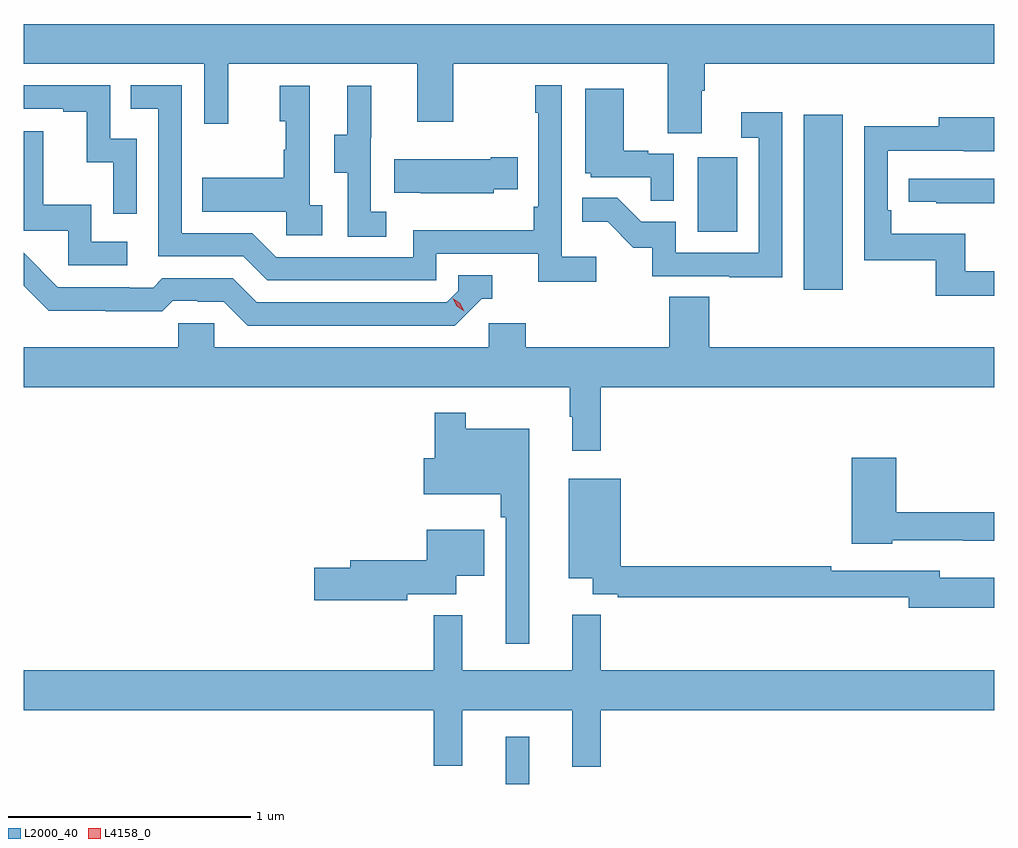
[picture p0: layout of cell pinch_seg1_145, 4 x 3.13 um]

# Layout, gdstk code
import gdstk
lib = gdstk.Library(unit=1e-6, precision=1e-09)
def R(c, l, rs):  # rectangles x0, y0, x1, y1
    for r in rs: c.add(gdstk.rectangle(r[:2], r[2:], *l))
def P(c, l, *ps):  # polygons
    for p in ps: c.add(gdstk.Polygon(p, *l))
L2000_40 = (2000, 40)
L4158_0 = (4158, 0)

pinch_seg1_145 = lib.new_cell('pinch_seg1_145')
R(pinch_seg1_145, L2000_40, [(1108.293,550.096,1108.39,550.291), (1109.522,552.132,1109.683,552.853), (1109.084,552.372,1109.248,552.679)])
P(pinch_seg1_145, L2000_40, [(1109.101,552.952),(1109.114,552.952),(1109.114,553.064),(1110.307,553.064),(1110.307,553.228),(1106.307,553.228),(1106.307,553.064),(1107.051,553.064),(1107.051,552.816),(1107.149,552.816),(1107.149,553.064),(1107.929,553.064),(1107.929,552.825),(1108.077,552.825),(1108.077,553.064),(1108.961,553.064),(1108.961,552.778),(1109.101,552.778)],
  [(1108.666,552.268),(1108.524,552.268),(1108.524,552.976),(1108.416,552.976),(1108.416,552.863),(1108.428,552.863),(1108.428,552.475),(1108.408,552.475),(1108.408,552.379),(1107.912,552.379),(1107.912,552.267),(1107.348,552.267),(1107.249,552.366),(1106.958,552.366),(1106.958,552.975),(1106.749,552.975),(1106.749,552.879),(1106.862,552.879),(1106.862,552.27),(1107.212,552.27),(1107.311,552.171),(1108.008,552.171),(1108.008,552.282),(1108.427,552.282),(1108.427,552.166),(1108.666,552.166)],
  [(1106.772,552.756),(1106.664,552.756),(1106.664,552.975),(1106.307,552.975),(1106.307,552.879),(1106.471,552.879),(1106.471,552.867),(1106.567,552.867),(1106.567,552.659),(1106.676,552.659),(1106.676,552.447),(1106.772,552.447)],
  [(1107.802,552.455),(1107.738,552.455),(1107.738,552.759),(1107.74,552.759),(1107.74,552.973),(1107.641,552.973),(1107.641,552.771),(1107.587,552.771),(1107.587,552.616),(1107.642,552.616),(1107.642,552.352),(1107.802,552.352)],
  [(1107.538,552.482),(1107.486,552.482),(1107.486,552.973),(1107.362,552.973),(1107.362,552.828),(1107.388,552.828),(1107.388,552.71),(1107.378,552.71),(1107.378,552.595),(1107.043,552.595),(1107.043,552.455),(1107.39,552.455),(1107.39,552.357),(1107.538,552.357)],
  [(1108.986,552.693),(1108.88,552.693),(1108.88,552.706),(1108.78,552.706),(1108.78,552.961),(1108.622,552.961),(1108.622,552.612),(1108.644,552.612),(1108.644,552.597),(1108.891,552.597),(1108.891,552.499),(1108.986,552.499)],
  [(1109.433,552.865),(1109.265,552.865),(1109.265,552.759),(1109.337,552.759),(1109.337,552.285),(1108.995,552.285),(1108.995,552.414),(1108.851,552.414),(1108.753,552.512),(1108.609,552.512),(1108.609,552.413),(1108.713,552.413),(1108.82,552.306),(1108.897,552.306),(1108.897,552.189),(1109.215,552.189),(1109.215,552.184),(1109.433,552.184)],
  [(1110.307,552.209),(1110.187,552.209),(1110.187,552.364),(1109.882,552.364),(1109.882,552.46),(1109.868,552.46),(1109.868,552.705),(1110.181,552.705),(1110.181,552.704),(1110.307,552.704),(1110.307,552.844),(1110.077,552.844),(1110.077,552.806),(1109.772,552.806),(1109.772,552.255),(1110.066,552.255),(1110.066,552.108),(1110.307,552.108)],
  [(1106.734,552.33),(1106.586,552.33),(1106.586,552.484),(1106.387,552.484),(1106.387,552.787),(1106.307,552.787),(1106.307,552.375),(1106.49,552.375),(1106.49,552.234),(1106.734,552.234)],
  [(1108.245,552.548),(1108.343,552.548),(1108.343,552.678),(1108.232,552.678),(1108.232,552.67),(1107.835,552.67),(1107.835,552.533),(1107.943,552.533),(1107.943,552.53),(1108.245,552.53)],
  [(1110.307,552.591),(1109.955,552.591),(1109.955,552.495),(1110.067,552.495),(1110.067,552.49),(1110.307,552.49)],
  [(1108.194,552.096),(1108.237,552.096),(1108.237,552.192),(1108.098,552.192),(1108.098,552.129),(1108.05,552.081),(1107.267,552.081),(1107.168,552.18),(1106.879,552.18),(1106.84,552.141),(1106.741,552.141),(1106.741,552.144),(1106.448,552.144),(1106.307,552.285),(1106.307,552.15),(1106.41,552.047),(1106.646,552.047),(1106.646,552.045),(1106.879,552.045),(1106.921,552.087),(1107.024,552.087),(1107.024,552.084),(1107.131,552.084),(1107.23,551.985),(1108.083,551.985)],
  [(1108.685,551.732),(1110.307,551.732),(1110.307,551.896),(1109.132,551.896),(1109.132,552.104),(1108.967,552.104),(1108.967,551.896),(1108.376,551.896),(1108.376,551.994),(1108.224,551.994),(1108.224,551.896),(1107.093,551.896),(1107.093,551.994),(1106.943,551.994),(1106.943,551.896),(1106.307,551.896),(1106.307,551.732),(1108.557,551.732),(1108.557,551.609),(1108.568,551.609),(1108.568,551.469),(1108.685,551.469)],
  [(1108.39,551.56),(1108.129,551.56),(1108.129,551.626),(1108,551.626),(1108,551.439),(1107.956,551.439),(1107.956,551.291),(1108.273,551.291),(1108.273,551.195),(1108.293,551.195),(1108.293,550.674),(1108.39,550.674)],
  [(1109.886,551.1),(1110.178,551.1),(1110.178,551.099),(1110.307,551.099),(1110.307,551.216),(1109.903,551.216),(1109.903,551.44),(1109.72,551.44),(1109.72,551.087),(1109.886,551.087)],
  [(1110.307,550.945),(1110.082,550.945),(1110.082,550.974),(1109.636,550.974),(1109.636,550.994),(1108.768,550.994),(1108.768,551.353),(1108.553,551.353),(1108.553,550.943),(1108.652,550.943),(1108.652,550.878),(1108.756,550.878),(1108.756,550.866),(1109.954,550.866),(1109.954,550.823),(1110.307,550.823)],
  [(1107.888,550.877),(1108.09,550.877),(1108.09,550.955),(1108.204,550.955),(1108.204,551.143),(1107.968,551.143),(1107.968,551.018),(1107.653,551.018),(1107.653,550.988),(1107.504,550.988),(1107.504,550.853),(1107.888,550.853)],
  [(1108.685,550.4),(1110.307,550.4),(1110.307,550.564),(1108.685,550.564),(1108.685,550.793),(1108.568,550.793),(1108.568,550.564),(1108.115,550.564),(1108.115,550.792),(1107.997,550.792),(1107.997,550.564),(1106.307,550.564),(1106.307,550.4),(1107.997,550.4),(1107.997,550.172),(1108.115,550.172),(1108.115,550.4),(1108.568,550.4),(1108.568,550.167),(1108.685,550.167)])
P(pinch_seg1_145, L4158_0, [(1108.123,552.044),(1108.092,552.064),(1108.076,552.097),(1108.076,552.097),(1108.076,552.097),(1108.107,552.077),(1108.123,552.044),(1108.123,552.044)])

lib.write_gds('pinch_seg1_145.gds')
